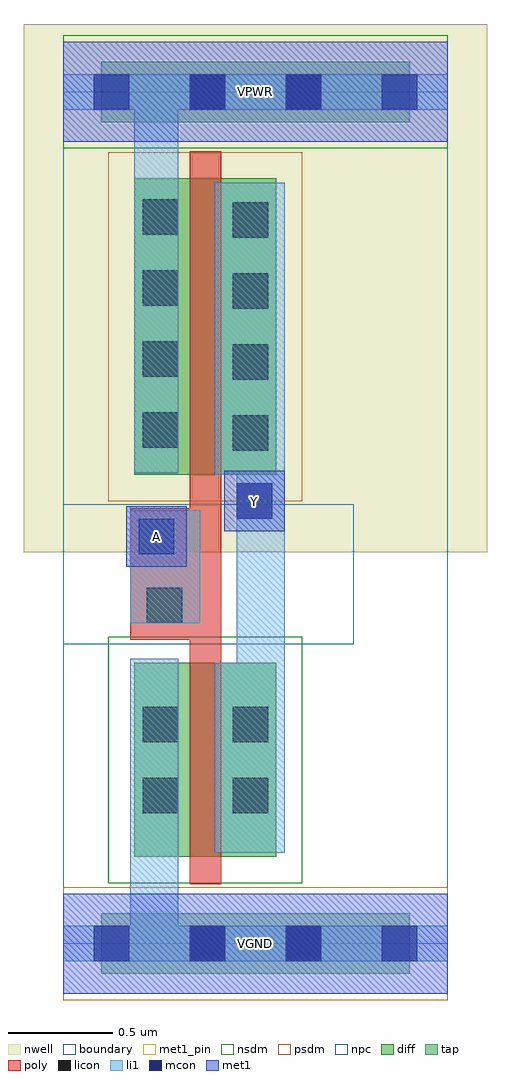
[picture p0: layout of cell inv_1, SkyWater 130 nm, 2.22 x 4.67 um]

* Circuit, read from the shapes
.subckt inv_1 A VGND VPWR Y
XM1 Y A VGND VGND sky130_fd_pr__nfet_01v8 w=0.93 l=0.15
XM2 Y A VPWR VPWR sky130_fd_pr__pfet_01v8 w=1.42 l=0.15
.ends

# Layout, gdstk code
import gdstk
lib = gdstk.Library(unit=1e-6, precision=1e-09)
def R(c, l, rs):  # rectangles x0, y0, x1, y1
    for r in rs: c.add(gdstk.rectangle(r[:2], r[2:], *l))
def A(c, l, x, y, w, h, nx, ny, dx, dy):  # array of equal rectangles
    R(c, l, [(x+i*dx, y+j*dy, x+i*dx+w, y+j*dy+h) for i in range(nx) for j in range(ny)])
nwell = (64, 20)
diff = (65, 20)
tap = (65, 44)
poly = (66, 20)
licon = (66, 44)
li1 = (67, 20)
mcon = (67, 44)
met1_pin = (68, 16)
met1 = (68, 20)
nsdm = (93, 44)
psdm = (94, 20)
npc = (95, 20)
boundary = (235, 4)

inv_1 = lib.new_cell('inv_1')
R(inv_1, nwell, [(-0.19,1.875,2.03,4.405), (0,1.875,1.84,4.405)])
R(inv_1, diff, [(0.34,0.415,1.02,1.345), (0.34,2.245,1.02,3.665)])
R(inv_1, tap, [(0.18,-0.145,1.66,0.145), (0.18,3.935,1.66,4.225)])
R(inv_1, poly, [(0.605,0.285,0.755,3.795), (0.32,1.455,0.755,2.085)])
A(inv_1, licon, 0.81, 2.36, 0.17, 0.17, 1, 4, 0, 0.34)
A(inv_1, licon, 0.38, 2.375, 0.17, 0.17, 1, 4, 0, 0.34)
R(inv_1, licon, [(0.605,-0.085,0.775,0.085), (1.065,-0.085,1.235,0.085), (0.38,0.625,0.55,0.795), (0.81,0.625,0.98,0.795), (0.38,0.965,0.55,1.135), (0.81,0.965,0.98,1.135), (0.4,1.535,0.57,1.705), (0.605,3.995,0.775,4.165), (1.065,3.995,1.235,4.165)])
R(inv_1, li1, [(0,-0.085,1.84,0.085), (0.32,-0.085,0.55,1.365), (0.725,0.435,1.06,1.345), (0.83,0.435,1.06,3.645), (0.32,1.535,0.655,2.075), (0.725,2.245,1.06,3.645), (0.34,2.255,0.55,4.165), (0,3.995,1.84,4.165)])
A(inv_1, mcon, 0.145, -0.085, 0.17, 0.17, 4, 2, 0.46, 4.08)
R(inv_1, mcon, [(0.36,1.865,0.53,2.035), (0.83,2.035,1,2.205)])
R(inv_1, met1_pin, [(0,-0.24,1.84,0.24), (0.3,1.805,0.59,2.095), (0.77,1.975,1.06,2.265), (0,3.84,1.84,4.32)])
R(inv_1, met1, [(0,-0.24,1.84,0.24), (0.3,1.805,0.59,2.095), (0.77,1.975,1.06,2.265), (0,3.84,1.84,4.32)])
R(inv_1, nsdm, [(0.215,0.29,1.145,1.47), (0,3.81,1.84,4.35)])
R(inv_1, psdm, [(0,-0.27,1.84,0.27), (0.215,2.12,1.145,3.79)])
R(inv_1, npc, [(0,1.435,1.39,2.105)])
R(inv_1, boundary, [(0,0,1.84,4.08)])
inv_1.add(gdstk.Label('A', (0.445,1.95), layer=68, texttype=5))
inv_1.add(gdstk.Label('Y', (0.915,2.12), layer=68, texttype=5))
inv_1.add(gdstk.Label('VPWR', (0.92,4.08), layer=68, texttype=5))
inv_1.add(gdstk.Label('VGND', (0.92,0), layer=68, texttype=5))
inv_1.add(gdstk.Label('A', (0.445,1.95), layer=68, texttype=16))
inv_1.add(gdstk.Label('Y', (0.915,2.12), layer=68, texttype=16))
inv_1.add(gdstk.Label('VPWR', (0.92,4.08), layer=68, texttype=16))
inv_1.add(gdstk.Label('VGND', (0.92,0), layer=68, texttype=16))

lib.write_gds('inv_1.gds')
